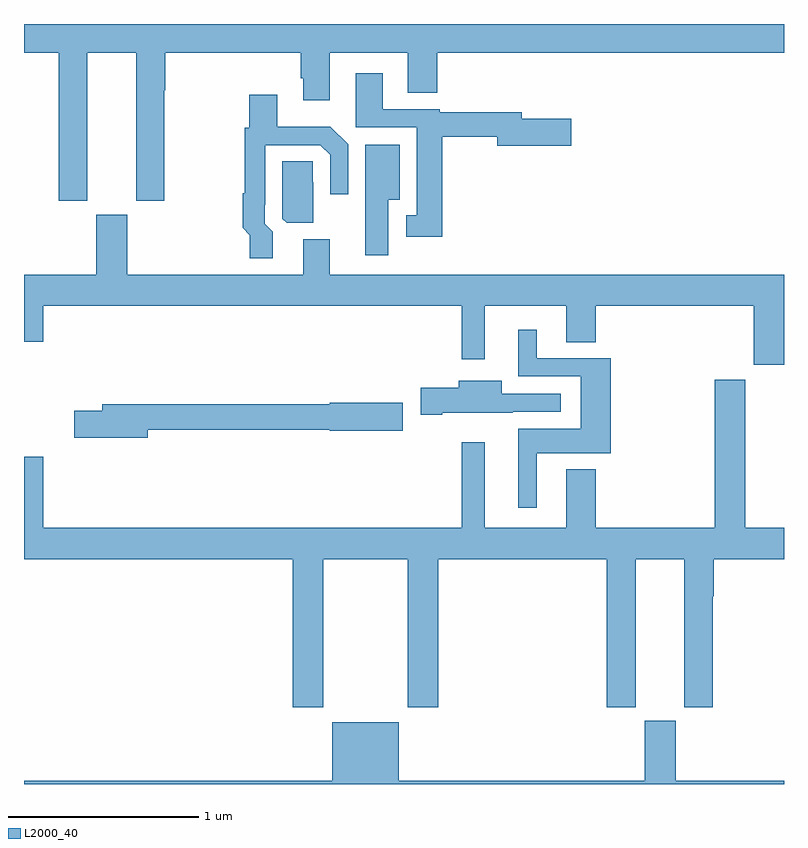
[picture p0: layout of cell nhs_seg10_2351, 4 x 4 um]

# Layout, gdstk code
import gdstk
lib = gdstk.Library(unit=1e-6, precision=1e-09)
def P(c, l, *ps):  # polygons
    for p in ps: c.add(gdstk.Polygon(p, *l))
L2000_40 = (2000, 40)

nhs_seg10_2351 = lib.new_cell('nhs_seg10_2351')
P(nhs_seg10_2351, L2000_40, [(237.334,1268.348),(237.59,1268.348),(237.59,1267.569),(237.738,1267.569),(237.738,1268.152),(237.743,1268.152),(237.743,1268.348),(238.457,1268.348),(238.457,1268.215),(238.469,1268.215),(238.469,1268.1),(238.609,1268.1),(238.609,1268.348),(239.021,1268.348),(239.021,1268.137),(239.174,1268.137),(239.174,1268.348),(241,1268.348),(241,1268.5),(237,1268.5),(237,1268.348),(237.182,1268.348),(237.182,1267.569),(237.334,1267.569)],
  [(239.201,1267.906),(239.492,1267.906),(239.492,1267.859),(239.881,1267.859),(239.881,1268.001),(239.62,1268.001),(239.62,1268.035),(239.188,1268.035),(239.188,1268.052),(238.888,1268.052),(238.888,1268.242),(238.745,1268.242),(238.745,1267.956),(239.066,1267.956),(239.066,1267.493),(239.013,1267.493),(239.013,1267.38),(239.201,1267.38)],
  [(238.309,1267.406),(238.266,1267.449),(238.266,1267.549),(238.269,1267.549),(238.269,1267.863),(238.56,1267.863),(238.611,1267.812),(238.611,1267.605),(238.707,1267.605),(238.707,1267.866),(238.613,1267.96),(238.333,1267.96),(238.333,1268.128),(238.186,1268.128),(238.186,1267.953),(238.161,1267.953),(238.161,1267.61),(238.151,1267.61),(238.151,1267.428),(238.189,1267.389),(238.189,1267.266),(238.309,1267.266)],
  [(238.918,1267.574),(238.978,1267.574),(238.978,1267.864),(238.796,1267.864),(238.796,1267.284),(238.918,1267.284)],
  [(238.522,1267.667),(238.521,1267.667),(238.521,1267.778),(238.359,1267.778),(238.359,1267.476),(238.383,1267.453),(238.522,1267.453)],
  [(241,1267.18),(238.609,1267.18),(238.609,1267.368),(238.469,1267.368),(238.469,1267.18),(237.544,1267.18),(237.544,1267.497),(237.38,1267.497),(237.38,1267.18),(237,1267.18),(237,1266.828),(237.1,1266.828),(237.1,1267.016),(239.304,1267.016),(239.304,1266.735),(239.425,1266.735),(239.425,1267.016),(239.855,1267.016),(239.855,1266.826),(240.008,1266.826),(240.008,1267.016),(240.842,1267.016),(240.842,1266.707),(241,1266.707)],
  [(239.698,1266.242),(240.089,1266.242),(240.089,1266.741),(239.698,1266.741),(239.698,1266.892),(239.6,1266.892),(239.6,1266.645),(239.93,1266.645),(239.93,1266.37),(239.704,1266.37),(239.704,1266.369),(239.602,1266.369),(239.602,1266.266),(239.6,1266.266),(239.6,1265.955),(239.698,1265.955)],
  [(238.575,1265.684),(239.02,1265.684),(239.02,1264.905),(239.18,1264.905),(239.18,1265.684),(240.068,1265.684),(240.068,1264.905),(240.22,1264.905),(240.22,1265.684),(240.476,1265.684),(240.476,1264.905),(240.624,1264.905),(240.624,1265.488),(240.629,1265.488),(240.629,1265.684),(241,1265.684),(241,1265.848),(240.795,1265.848),(240.795,1266.628),(240.635,1266.628),(240.635,1265.848),(240.008,1265.848),(240.008,1266.157),(239.855,1266.157),(239.855,1265.848),(239.425,1265.848),(239.425,1266.298),(239.304,1266.298),(239.304,1265.848),(237.1,1265.848),(237.1,1266.223),(237,1266.223),(237,1265.684),(238.415,1265.684),(238.415,1264.905),(238.575,1264.905)],
  [(239.2,1266.455),(239.572,1266.455),(239.572,1266.459),(239.824,1266.459),(239.824,1266.555),(239.515,1266.555),(239.515,1266.622),(239.288,1266.622),(239.288,1266.585),(239.088,1266.585),(239.088,1266.443),(239.2,1266.443)],
  [(237.652,1266.364),(238.608,1266.364),(238.608,1266.359),(238.993,1266.359),(238.993,1266.506),(238.608,1266.506),(238.608,1266.5),(237.413,1266.5),(237.413,1266.464),(237.264,1266.464),(237.264,1266.322),(237.652,1266.322)],
  [(241,1264.516),(240.43,1264.516),(240.43,1264.833),(240.266,1264.833),(240.266,1264.516),(238.972,1264.516),(238.972,1264.825),(238.622,1264.825),(238.622,1264.516),(237,1264.516),(237,1264.5),(241,1264.5)])

lib.write_gds('nhs_seg10_2351.gds')
